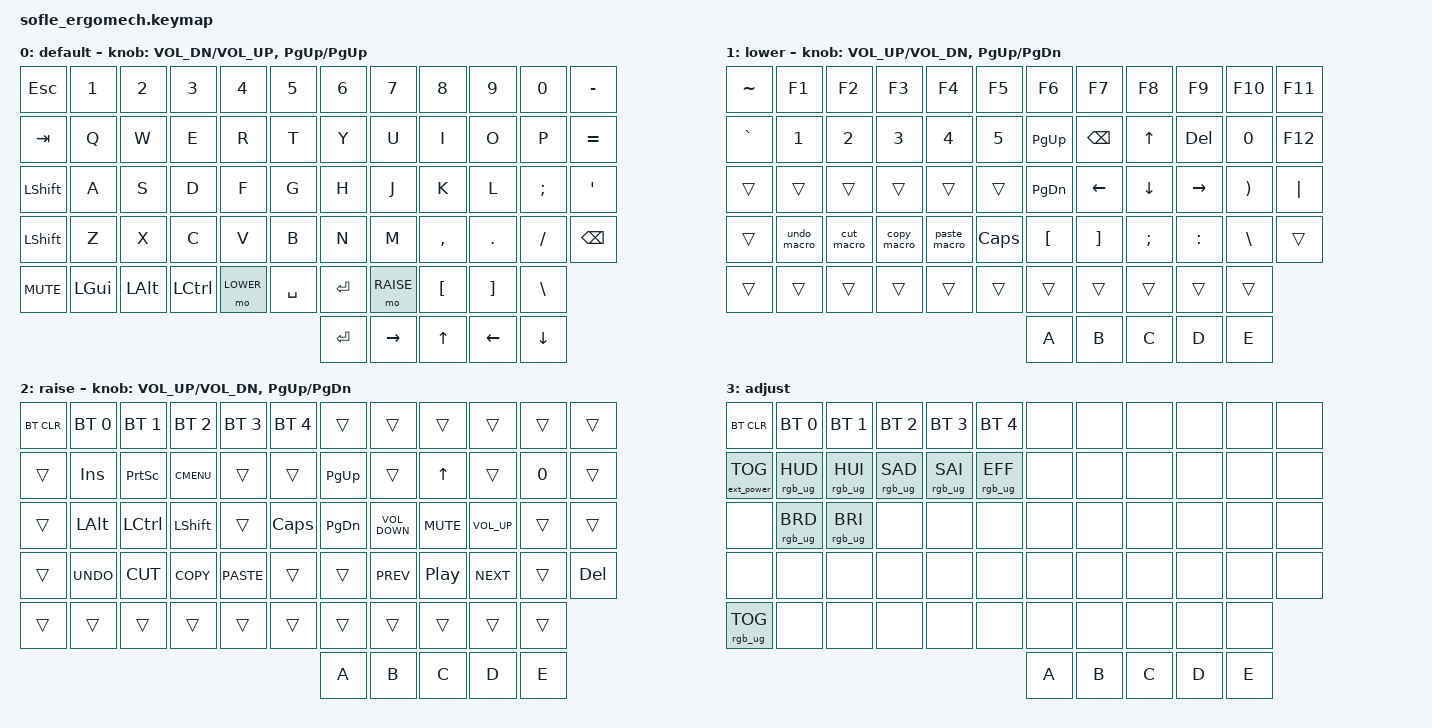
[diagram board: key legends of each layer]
/*
* Copyright (c) 2020 The ZMK Contributors
*
* SPDX-License-Identifier: MIT
*/

#include <behaviors.dtsi>
#include <dt-bindings/zmk/bt.h>
#include <dt-bindings/zmk/ext_power.h>
#include <dt-bindings/zmk/keys.h>
#include <dt-bindings/zmk/rgb.h>

#define BASE 0
#define LOWER 1
#define RAISE 2
#define ADJUST 3

/ {
    // Activate ADJUST layer by pressing raise and lower

    conditional_layers {
        compatible = "zmk,conditional-layers";

        adjust_layer {
            if-layers = <LOWER RAISE>;
            then-layer = <ADJUST>;
        };
    };

    macros {
        copy_macro: copy_macro {
            compatible = "zmk,behavior-macro";
            #binding-cells = <0>;
            bindings =
                <&macro_press>,
                <&kp LEFT_CONTROL &kp C>,
                <&macro_release>,
                <&kp LEFT_CONTROL &kp C>;

            label = "COPY_MACRO";
        };

        paste_macro: paste_macro {
            compatible = "zmk,behavior-macro";
            #binding-cells = <0>;
            bindings =
                <&macro_press>,
                <&kp LEFT_CONTROL &kp V>,
                <&macro_release>,
                <&kp LEFT_CONTROL &kp V>;

            label = "PASTE_MACRO";
        };

        cut_macro: undo_macro {
            compatible = "zmk,behavior-macro";
            #binding-cells = <0>;
            bindings =
                <&macro_press>,
                <&kp LEFT_CONTROL &kp X>,
                <&macro_release>,
                <&kp LEFT_CONTROL &kp X>;

            label = "UNDO_MACRO";
        };

        undo_macro: cut_macro {
            compatible = "zmk,behavior-macro";
            #binding-cells = <0>;
            bindings =
                <&macro_press>,
                <&kp LEFT_CONTROL &kp Z>,
                <&macro_release>,
                <&kp LEFT_CONTROL &kp Z>;

            label = "CUT_MACRO";
        };
    };

    keymap {
        compatible = "zmk,keymap";

        default_layer {
            label = "default";

            // ------------------------------------------------------------------------------------------------------------
            // |   `   |  1  |  2  |  3   |  4   |  5   |                   |  6   |  7    |  8    |  9   |   0   |       |
            // |  ESC  |  Q  |  W  |  E   |  R   |  T   |                   |  Y   |  U    |  I    |  O   |   P   | BKSPC |
            // |  TAB  |  A  |  S  |  D   |  F   |  G   |                   |  H   |  J    |  K    |  L   |   ;   |   '   |
            // | SHIFT |  Z  |  X  |  C   |  V   |  B   |  MUTE  |  |       |  N   |  M    |  ,    |  .   |   /   | SHIFT |
            //               | GUI | ALT  | CTRL | LOWER|  ENTER |  | SPACE | RAISE| CTRL  | ALT   | GUI  |

            bindings = <
&kp ESC         &kp N1    &kp N2    &kp N3     &kp N4     &kp N5     &kp N6      &kp N7     &kp N8            &kp N9             &kp N0         &kp MINUS
&kp TAB         &kp Q     &kp W     &kp E      &kp R      &kp T      &kp Y       &kp U      &kp I             &kp O              &kp P          &kp EQUAL
&kp LEFT_SHIFT  &kp A     &kp S     &kp D      &kp F      &kp G      &kp H       &kp J      &kp K             &kp L              &kp SEMI       &kp SQT
&kp LSHIFT      &kp Z     &kp X     &kp C      &kp V      &kp B      &kp N       &kp M      &kp COMMA         &kp DOT            &kp FSLH       &kp BACKSPACE
&kp C_MUTE      &kp LGUI  &kp LALT  &kp LCTRL  &mo LOWER  &kp SPACE  &kp RETURN  &mo RAISE  &kp LEFT_BRACKET  &kp RIGHT_BRACKET  &kp BACKSLASH
                                                                     &kp ENTER   &kp RIGHT  &kp UP_ARROW      &kp LEFT           &kp DOWN
            >;

            sensor-bindings =
                <&inc_dec_kp C_VOL_DN C_VOL_UP>,
                <&inc_dec_kp PG_UP PG_UP>;
        };

        lower_layer {
            label = "lower";

            // TODO: Some binds are waiting for shifted keycode support.
            // ------------------------------------------------------------------------------------------------------------
            // |       |  F1 |  F2 |  F3  |  F4  |  F5  |                   |  F6  |  F7   |  F8   |  F9  |  F10  |  F11  |
            // |   `   |  1  |  2  |  3   |  4   |  5   |                   |  6   |  7    |  8    |  9   |   0   |  F12  |
            // |       |  !  |  @  |  #   |  $   |  %   |                   |  ^   |  &    |  *    |  (   |   )   |   |   |
            // |       |  =  |  -  |  +   |  {   |  }   |        |  |       |  [   |  ]    |  ;    |  :   |   \   |       |
            //               |     |      |      |      |        |  |       |      |       |       |      |

            bindings = <
&kp TILDE  &kp F1       &kp F2      &kp F3       &kp F4        &kp F5        &kp F6         &kp F7          &kp F8          &kp F9           &kp F10   &kp F11
&kp GRAVE  &kp N1       &kp N2      &kp N3       &kp N4        &kp N5        &kp PAGE_UP    &kp BACKSPACE   &kp UP_ARROW    &kp DELETE       &kp N0    &kp F12
&trans     &trans       &trans      &trans       &trans        &trans        &kp PAGE_DOWN  &kp LEFT_ARROW  &kp DOWN_ARROW  &kp RIGHT_ARROW  &kp RPAR  &kp PIPE
&trans     &undo_macro  &cut_macro  &copy_macro  &paste_macro  &kp CAPSLOCK  &kp LBKT       &kp RBKT        &kp SEMI        &kp COLON        &kp BSLH  &trans
&trans     &trans       &trans      &trans       &trans        &trans        &trans         &trans          &trans          &trans           &trans
                                                                             &kp A          &kp B           &kp C           &kp D            &kp E
            >;

            sensor-bindings = <&inc_dec_kp C_VOL_UP C_VOL_DN &inc_dec_kp PG_UP PG_DN>;
        };

        raise_layer {
            label = "raise";

            // ------------------------------------------------------------------------------------------------------------
            // | BTCLR | BT1  | BT2  |  BT3  |  BT4  |  BT5 |                |      |      |       |      |       |       |
            // |       | INS  | PSCR | GUI   |       |      |                | PGUP |      |   ^   |      |       |       |
            // |       | ALT  | CTRL | SHIFT |       | CAPS |                | PGDN |   <- |   v   |  ->  |  DEL  | BKSPC |
            // |       | UNDO | CUT  | COPY  | PASTE |      |      |  |      |      |      |       |      |       |       |
            //                |      |       |       |      |      |  |      |      |      |       |      |

            bindings = <
&bt BT_CLR  &bt BT_SEL 0  &bt BT_SEL 1  &bt BT_SEL 2  &bt BT_SEL 3  &bt BT_SEL 4  &trans     &trans             &trans            &trans           &trans  &trans
&trans      &kp INS       &kp PSCRN     &kp K_CMENU   &trans        &trans        &kp PG_UP  &trans             &kp UP            &trans           &kp N0  &trans
&trans      &kp LALT      &kp LCTRL     &kp LSHFT     &trans        &kp CLCK      &kp PG_DN  &kp C_VOLUME_DOWN  &kp C_MUTE        &kp C_VOLUME_UP  &trans  &trans
&trans      &kp K_UNDO    &kp K_CUT     &kp K_COPY    &kp K_PASTE   &trans        &trans     &kp C_PREV         &kp C_PLAY_PAUSE  &kp C_NEXT       &trans  &kp DELETE
&trans      &trans        &trans        &trans        &trans        &trans        &trans     &trans             &trans            &trans           &trans
                                                                                  &kp A      &kp B              &kp C             &kp D            &kp E
            >;

            sensor-bindings = <&inc_dec_kp C_VOL_UP C_VOL_DN &inc_dec_kp PG_UP PG_DN>;
        };

        adjust_layer {
            // ----------------------------------------------------------------------------------------------------------------------------
            // | BTCLR  |  BT1    |  BT2    |   BT3   |   BT4   |   BT5   |                  |      |      |       |      |       |       |
            // | EXTPWR | RGB_HUD | RGB_HUI | RGB_SAD | RGB_SAI | RGB_EFF |                  |      |      |       |      |       |       |
            // |        | RGB_BRD | RGB_BRI |         |         |         |                  |      |      |       |      |       |       |
            // |        |         |         |         |         |         | RGB_TOG | |      |      |      |       |      |       |       |
            //                    |         |         |         |         |         | |      |      |      |       |      |

            label = "adjust";
            bindings = <
&bt BT_CLR         &bt BT_SEL 0     &bt BT_SEL 1     &bt BT_SEL 2     &bt BT_SEL 3     &bt BT_SEL 4     &none  &none  &none  &none  &none  &none
&ext_power EP_TOG  &rgb_ug RGB_HUD  &rgb_ug RGB_HUI  &rgb_ug RGB_SAD  &rgb_ug RGB_SAI  &rgb_ug RGB_EFF  &none  &none  &none  &none  &none  &none
&none              &rgb_ug RGB_BRD  &rgb_ug RGB_BRI  &none            &none            &none            &none  &none  &none  &none  &none  &none
&none              &none            &none            &none            &none            &none            &none  &none  &none  &none  &none  &none
&rgb_ug RGB_TOG    &none            &none            &none            &none            &none            &none  &none  &none  &none  &none
                                                                                                        &kp A  &kp B  &kp C  &kp D  &kp E
            >;
        };
    };
};
